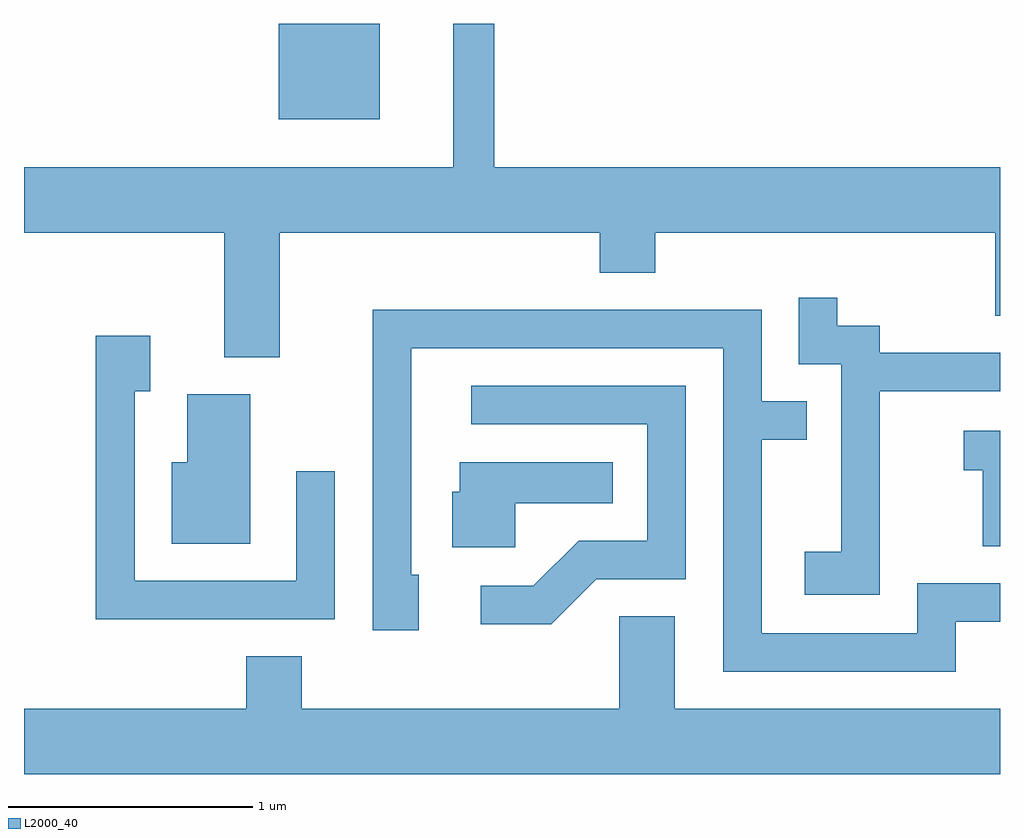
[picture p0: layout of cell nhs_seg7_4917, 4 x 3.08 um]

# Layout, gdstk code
import gdstk
lib = gdstk.Library(unit=1e-6, precision=1e-09)
def R(c, l, rs):  # rectangles x0, y0, x1, y1
    for r in rs: c.add(gdstk.rectangle(r[:2], r[2:], *l))
def P(c, l, *ps):  # polygons
    for p in ps: c.add(gdstk.Polygon(p, *l))
L2000_40 = (2000, 40)

nhs_seg7_4917 = lib.new_cell('nhs_seg7_4917')
R(nhs_seg7_4917, L2000_40, [(336.656,1745.861,337.069,1746.252)])
P(nhs_seg7_4917, L2000_40, [(336.659,1745.396),(337.971,1745.396),(337.971,1745.231),(338.199,1745.231),(338.199,1745.396),(339.591,1745.396),(339.591,1745.056),(339.611,1745.056),(339.611,1745.664),(337.539,1745.664),(337.539,1746.252),(337.371,1746.252),(337.371,1745.664),(335.611,1745.664),(335.611,1745.396),(336.431,1745.396),(336.431,1744.886),(336.659,1744.886)],
  [(339.119,1744.746),(339.611,1744.746),(339.611,1744.904),(339.119,1744.904),(339.119,1745.014),(338.944,1745.014),(338.944,1745.128),(338.786,1745.128),(338.786,1744.856),(338.961,1744.856),(338.961,1744.089),(338.811,1744.089),(338.811,1743.911),(339.119,1743.911)],
  [(339.429,1743.801),(339.611,1743.801),(339.611,1743.959),(339.271,1743.959),(339.271,1743.754),(338.634,1743.754),(338.634,1744.546),(338.818,1744.546),(338.818,1744.704),(338.634,1744.704),(338.634,1745.079),(337.041,1745.079),(337.041,1743.766),(337.229,1743.766),(337.229,1743.994),(337.199,1743.994),(337.199,1744.921),(338.476,1744.921),(338.476,1743.596),(339.429,1743.596)],
  [(336.884,1744.418),(336.726,1744.418),(336.726,1743.969),(336.064,1743.969),(336.064,1744.746),(336.129,1744.746),(336.129,1744.974),(335.906,1744.974),(335.906,1743.811),(336.884,1743.811)],
  [(337.957,1743.976),(338.324,1743.976),(338.324,1744.769),(337.443,1744.769),(337.443,1744.611),(338.166,1744.611),(338.166,1744.134),(337.884,1744.134),(337.699,1743.949),(337.483,1743.949),(337.483,1743.791),(337.772,1743.791)],
  [(336.539,1744.734),(336.281,1744.734),(336.281,1744.454),(336.216,1744.454),(336.216,1744.121),(336.539,1744.121)],
  [(339.611,1744.584),(339.463,1744.584),(339.463,1744.421),(339.541,1744.421),(339.541,1744.111),(339.611,1744.111)],
  [(337.624,1744.286),(338.023,1744.286),(338.023,1744.454),(337.396,1744.454),(337.396,1744.334),(337.366,1744.334),(337.366,1744.106),(337.624,1744.106)],
  [(339.611,1743.444),(338.279,1743.444),(338.279,1743.824),(338.051,1743.824),(338.051,1743.444),(336.749,1743.444),(336.749,1743.659),(336.521,1743.659),(336.521,1743.444),(335.611,1743.444),(335.611,1743.176),(339.611,1743.176)])

lib.write_gds('nhs_seg7_4917.gds')
